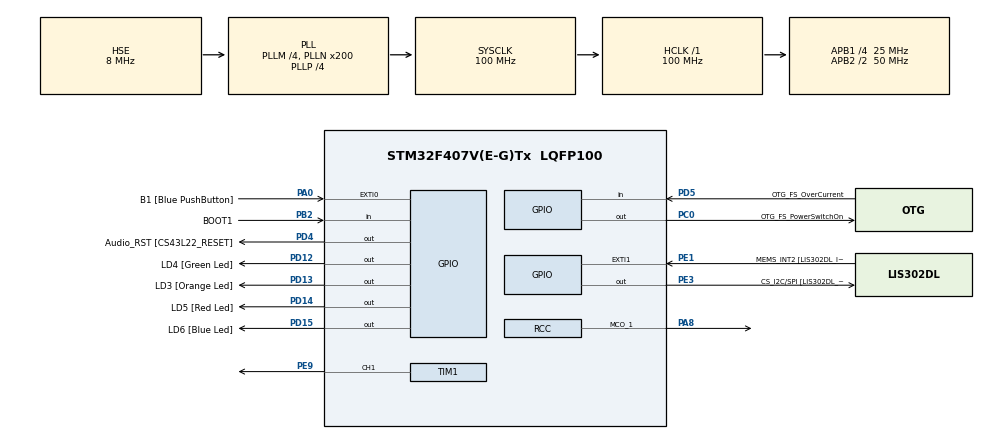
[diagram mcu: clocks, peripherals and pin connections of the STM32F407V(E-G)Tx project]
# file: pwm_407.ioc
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Mcu.Family=STM32F4
Mcu.Name=STM32F407V(E-G)Tx
Mcu.Package=LQFP100
NVIC.PriorityGroup=NVIC_PRIORITYGROUP_0
NVIC.TIM2_IRQn=true\:0\:0\:false
PA0-WKUP.GPIO_Label=B1 [Blue PushButton]
PA0-WKUP.GPIO_ModeDefaultEXTI=GPIO_MODE_EVT_RISING
PA0-WKUP.GPIO_PuPd=GPIO_NOPULL
PA0-WKUP.Signal=GPXTI0
PA10.GPIO_Label=OTG_FS_ID
PA10.GPIO_Mode=GPIO_MODE_AF_PP
PA10.GPIO_PuPd=GPIO_NOPULL
PA10.GPIO_Speed=GPIO_SPEED_LOW
PA10.Signal=USB_OTG_FS_ID
PA11.GPIO_Label=OTG_FS_DM
PA11.GPIO_Mode=GPIO_MODE_AF_PP
PA11.GPIO_PuPd=GPIO_NOPULL
PA11.GPIO_Speed=GPIO_SPEED_LOW
PA11.Signal=USB_OTG_FS_DM
PA12.GPIO_Label=OTG_FS_DP
PA12.GPIO_Mode=GPIO_MODE_AF_PP
PA12.GPIO_PuPd=GPIO_NOPULL
PA12.GPIO_Speed=GPIO_SPEED_LOW
PA12.Signal=USB_OTG_FS_DP
PA13.GPIO_Label=SWDIO
PA13.Mode=Trace-Asynchronous_SW
PA13.Signal=SYS_JTMS-SWDIO
PA14.GPIO_Label=SWCLK
PA14.Mode=Trace-Asynchronous_SW
PA14.Signal=SYS_JTCK-SWCLK
PA4.GPIO_Label=I2S3_WS [CS43L22_LRCK]
PA4.GPIO_Mode=GPIO_MODE_AF_PP
PA4.GPIO_PuPd=GPIO_NOPULL
PA4.GPIO_Speed=GPIO_SPEED_LOW
PA4.Signal=I2S3_WS
PA5.GPIO_Label=SPI1_SCK [LIS302DL_SCL/SPC]
PA5.GPIO_Mode=GPIO_MODE_AF_PP
PA5.GPIO_PuPd=GPIO_NOPULL
PA5.GPIO_Speed=GPIO_SPEED_LOW
PA5.Signal=SPI1_SCK
PA6.GPIO_Label=SPI1_MISO [LIS302DL_SDO]
PA6.GPIO_Mode=GPIO_MODE_AF_PP
PA6.GPIO_PuPd=GPIO_NOPULL
PA6.GPIO_Speed=GPIO_SPEED_LOW
PA6.Signal=SPI1_MISO
PA7.GPIO_Label=SPI1_MOSI [LIS302DL_SDA/SDI/SDO]
PA7.GPIO_Mode=GPIO_MODE_AF_PP
PA7.GPIO_PuPd=GPIO_NOPULL
PA7.GPIO_Speed=GPIO_SPEED_LOW
PA7.Signal=SPI1_MOSI
PA8.Mode=Clock-out-1
PA8.Signal=RCC_MCO_1
PA9.GPIO_Label=VBUS_FS
PA9.GPIO_Mode=GPIO_MODE_INPUT
PA9.GPIO_PuPd=GPIO_NOPULL
PA9.Signal=USB_OTG_FS_VBUS
PB10.GPIO_Label=CLK_IN [MP45DT02_CLK]
PB10.GPIO_Mode=GPIO_MODE_AF_PP
PB10.GPIO_PuPd=GPIO_NOPULL
PB10.GPIO_Speed=GPIO_SPEED_LOW
PB10.Signal=I2S2_CK
PB2.GPIO_Label=BOOT1
PB2.GPIO_Mode=GPIO_MODE_INPUT
PB2.GPIO_PuPd=GPIO_NOPULL
PB2.Signal=GPIO_Input
PB3.GPIO_Label=SWO
PB3.Mode=Trace-Asynchronous_SW
PB3.Signal=SYS_JTDO-SWO
PB6.GPIO_Label=Audio_SCL [CS43L22_SCL]
PB6.GPIO_Mode=GPIO_MODE_AF_OD
PB6.GPIO_PuPd=GPIO_NOPULL
PB6.GPIO_PuPdOD=GPIO_PULLUP
PB6.GPIO_Speed=GPIO_SPEED_LOW
PB6.Signal=I2C1_SCL
PB9.GPIO_Label=Audio_SDA [CS43L22_SDA]
PB9.GPIO_Mode=GPIO_MODE_AF_OD
PB9.GPIO_PuPd=GPIO_NOPULL
PB9.GPIO_PuPdOD=GPIO_PULLUP
PB9.GPIO_Speed=GPIO_SPEED_LOW
PB9.Signal=I2C1_SDA
PC0.GPIO_Label=OTG_FS_PowerSwitchOn
PC0.GPIO_ModeDefaultOutputPP=GPIO_MODE_OUTPUT_PP
PC0.GPIO_PuPd=GPIO_NOPULL
PC0.GPIO_Speed=GPIO_SPEED_LOW
PC0.Signal=GPIO_Output
PC10.GPIO_Label=I2S3_SCK [CS43L22_SCLK]
PC10.GPIO_Mode=GPIO_MODE_AF_PP
PC10.GPIO_PuPd=GPIO_NOPULL
PC10.GPIO_Speed=GPIO_SPEED_LOW
PC10.Signal=I2S3_CK
PC12.GPIO_Label=I2S3_SD [CS43L22_SDIN]
PC12.GPIO_Mode=GPIO_MODE_AF_PP
PC12.GPIO_PuPd=GPIO_NOPULL
PC12.GPIO_Speed=GPIO_SPEED_LOW
PC12.Signal=I2S3_SD
PC14-OSC32_IN.GPIO_Label=PC14-OSC32_IN
PC14-OSC32_IN.Signal=RCC_OSC32_IN
PC15-OSC32_OUT.GPIO_Label=PC15-OSC32_OUT
PC15-OSC32_OUT.Signal=RCC_OSC32_OUT
PC3.GPIO_Label=PDM_OUT [MP45DT02_DOUT]
PC3.GPIO_Mode=GPIO_MODE_AF_PP
PC3.GPIO_PuPd=GPIO_NOPULL
PC3.GPIO_Speed=GPIO_SPEED_LOW
PC3.Signal=I2S2_SD
PC7.GPIO_Label=I2S3_MCK [CS43L22_MCLK]
PC7.GPIO_Mode=GPIO_MODE_AF_PP
PC7.GPIO_PuPd=GPIO_NOPULL
PC7.GPIO_Speed=GPIO_SPEED_LOW
PC7.Signal=I2S3_MCK
PD12.GPIO_Label=LD4 [Green Led]
PD12.GPIO_ModeDefaultOutputPP=GPIO_MODE_OUTPUT_PP
PD12.GPIO_PuPd=GPIO_NOPULL
PD12.GPIO_Speed=GPIO_SPEED_LOW
PD12.Signal=GPIO_Output
PD13.GPIO_Label=LD3 [Orange Led]
PD13.GPIO_ModeDefaultOutputPP=GPIO_MODE_OUTPUT_PP
PD13.GPIO_PuPd=GPIO_NOPULL
PD13.GPIO_Speed=GPIO_SPEED_LOW
PD13.Signal=GPIO_Output
PD14.GPIO_Label=LD5 [Red Led]
PD14.GPIO_ModeDefaultOutputPP=GPIO_MODE_OUTPUT_PP
PD14.GPIO_PuPd=GPIO_NOPULL
PD14.GPIO_Speed=GPIO_SPEED_LOW
PD14.Signal=GPIO_Output
PD15.GPIO_Label=LD6 [Blue Led]
PD15.GPIO_ModeDefaultOutputPP=GPIO_MODE_OUTPUT_PP
PD15.GPIO_PuPd=GPIO_NOPULL
PD15.GPIO_Speed=GPIO_SPEED_LOW
PD15.Signal=GPIO_Output
PD4.GPIO_Label=Audio_RST [CS43L22_RESET]
PD4.GPIO_ModeDefaultOutputPP=GPIO_MODE_OUTPUT_PP
PD4.GPIO_PuPd=GPIO_NOPULL
PD4.GPIO_Speed=GPIO_SPEED_LOW
PD4.Signal=GPIO_Output
PD5.GPIO_Label=OTG_FS_OverCurrent
PD5.GPIO_Mode=GPIO_MODE_INPUT
PD5.GPIO_PuPd=GPIO_NOPULL
PD5.Signal=GPIO_Input
PE1.GPIO_Label=MEMS_INT2 [LIS302DL_INT2]
PE1.GPIO_ModeDefaultEXTI=GPIO_MODE_EVT_RISING
PE1.GPIO_PuPd=GPIO_NOPULL
PE1.Signal=GPXTI1
PE3.GPIO_Label=CS_I2C/SPI [LIS302DL_CS_I2C/SPI]
PE3.GPIO_ModeDefaultOutputPP=GPIO_MODE_OUTPUT_PP
PE3.GPIO_PuPd=GPIO_NOPULL
PE3.GPIO_Speed=GPIO_SPEED_LOW
PE3.Signal=GPIO_Output
PE9.Signal=S_TIM1_CH1
PH0-OSC_IN.GPIO_Label=PH0-OSC_IN
PH0-OSC_IN.Mode=HSE-External-Oscillator
PH0-OSC_IN.Signal=RCC_OSC_IN
PH1-OSC_OUT.GPIO_Label=PH1-OSC_OUT
PH1-OSC_OUT.Mode=HSE-External-Oscillator
PH1-OSC_OUT.Signal=RCC_OSC_OUT
ProjectManager.TargetToolchain=EWARM 6.70
RCC.48MHZClocksFreq_Value=57142857.14285714
RCC.AHBFreq_Value=100000000
RCC.APB1CLKDivider=RCC_HCLK_DIV4
RCC.APB1Freq_Value=25000000
RCC.APB1TimFreq_Value=50000000
RCC.APB2CLKDivider=RCC_HCLK_DIV2
RCC.APB2Freq_Value=50000000
RCC.APB2TimFreq_Value=100000000
RCC.CortexFreq_Value=12500000
RCC.HCLKFreq_Value=100000000
RCC.HSE_VALUE=8000000
RCC.HSI_VALUE=16000000
RCC.LSE_VALUE=32768
RCC.PLLM=4
RCC.PLLN=200
RCC.PLLP=RCC_PLLP_DIV4
RCC.PLLQ=7
RCC.PLLSourceVirtual=RCC_PLLSOURCE_HSE
RCC.RCC_MCO1Source=RCC_MCO1SOURCE_PLLCLK
RCC.SYSCLKFreq_VALUE=100000000
RCC.SYSCLKSource=RCC_SYSCLKSOURCE_PLLCLK
RCC.VCOOutputFreq_Value=400000000
SH.S_TIM1_CH1.0=TIM1_CH1,PWM Generation1 CH1
TIM1.Period=1024
VP_TIM1_VS_ClockSourceINT.Mode=Internal
VP_TIM2_VS_ClockSourceINT.Mode=Internal

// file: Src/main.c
/**
  ******************************************************************************
  * File Name          : main.c
  * Date               : 11/03/2016 18:35:31
  * Description        : Main program body
  ******************************************************************************
  *
  * COPYRIGHT(c) 2016 STMicroelectronics
  *
  * Redistribution and use in source and binary forms, with or without modification,
  * are permitted provided that the following conditions are met:
  *   1. Redistributions of source code must retain the above copyright notice,
  *      this list of conditions and the following disclaimer.
  *   2. Redistributions in binary form must reproduce the above copyright notice,
  *      this list of conditions and the following disclaimer in the documentation
  *      and/or other materials provided with the distribution.
  *   3. Neither the name of STMicroelectronics nor the names of its contributors
  *      may be used to endorse or promote products derived from this software
  *      without specific prior written permission.
  *
  * THIS SOFTWARE IS PROVIDED BY THE COPYRIGHT HOLDERS AND CONTRIBUTORS "AS IS"
  * AND ANY EXPRESS OR IMPLIED WARRANTIES, INCLUDING, BUT NOT LIMITED TO, THE
  * IMPLIED WARRANTIES OF MERCHANTABILITY AND FITNESS FOR A PARTICULAR PURPOSE ARE
  * DISCLAIMED. IN NO EVENT SHALL THE COPYRIGHT HOLDER OR CONTRIBUTORS BE LIABLE
  * FOR ANY DIRECT, INDIRECT, INCIDENTAL, SPECIAL, EXEMPLARY, OR CONSEQUENTIAL
  * DAMAGES (INCLUDING, BUT NOT LIMITED TO, PROCUREMENT OF SUBSTITUTE GOODS OR
  * SERVICES; LOSS OF USE, DATA, OR PROFITS; OR BUSINESS INTERRUPTION) HOWEVER
  * CAUSED AND ON ANY THEORY OF LIABILITY, WHETHER IN CONTRACT, STRICT LIABILITY,
  * OR TORT (INCLUDING NEGLIGENCE OR OTHERWISE) ARISING IN ANY WAY OUT OF THE USE
  * OF THIS SOFTWARE, EVEN IF ADVISED OF THE POSSIBILITY OF SUCH DAMAGE.
  *
  ******************************************************************************
  */

#include "stm32f4xx_hal.h"
#include "tim.h"
#include "gpio.h"

/* USER CODE BEGIN PV */

uint8_t  sine_wave[256] = {
  0x80, 0x83, 0x86, 0x89, 0x8C, 0x90, 0x93, 0x96,
  0x99, 0x9C, 0x9F, 0xA2, 0xA5, 0xA8, 0xAB, 0xAE,
  0xB1, 0xB3, 0xB6, 0xB9, 0xBC, 0xBF, 0xC1, 0xC4,
  0xC7, 0xC9, 0xCC, 0xCE, 0xD1, 0xD3, 0xD5, 0xD8,
  0xDA, 0xDC, 0xDE, 0xE0, 0xE2, 0xE4, 0xE6, 0xE8,
  0xEA, 0xEB, 0xED, 0xEF, 0xF0, 0xF1, 0xF3, 0xF4,
  0xF5, 0xF6, 0xF8, 0xF9, 0xFA, 0xFA, 0xFB, 0xFC,
  0xFD, 0xFD, 0xFE, 0xFE, 0xFE, 0xFF, 0xFF, 0xFF,
  0xFF, 0xFF, 0xFF, 0xFF, 0xFE, 0xFE, 0xFE, 0xFD,
  0xFD, 0xFC, 0xFB, 0xFA, 0xFA, 0xF9, 0xF8, 0xF6,
  0xF5, 0xF4, 0xF3, 0xF1, 0xF0, 0xEF, 0xED, 0xEB,
  0xEA, 0xE8, 0xE6, 0xE4, 0xE2, 0xE0, 0xDE, 0xDC,
  0xDA, 0xD8, 0xD5, 0xD3, 0xD1, 0xCE, 0xCC, 0xC9,
  0xC7, 0xC4, 0xC1, 0xBF, 0xBC, 0xB9, 0xB6, 0xB3,
  0xB1, 0xAE, 0xAB, 0xA8, 0xA5, 0xA2, 0x9F, 0x9C,
  0x99, 0x96, 0x93, 0x90, 0x8C, 0x89, 0x86, 0x83,
  0x80, 0x7D, 0x7A, 0x77, 0x74, 0x70, 0x6D, 0x6A,
  0x67, 0x64, 0x61, 0x5E, 0x5B, 0x58, 0x55, 0x52,
  0x4F, 0x4D, 0x4A, 0x47, 0x44, 0x41, 0x3F, 0x3C,
  0x39, 0x37, 0x34, 0x32, 0x2F, 0x2D, 0x2B, 0x28,
  0x26, 0x24, 0x22, 0x20, 0x1E, 0x1C, 0x1A, 0x18,
  0x16, 0x15, 0x13, 0x11, 0x10, 0x0F, 0x0D, 0x0C,
  0x0B, 0x0A, 0x08, 0x07, 0x06, 0x06, 0x05, 0x04,
  0x03, 0x03, 0x02, 0x02, 0x02, 0x01, 0x01, 0x01,
  0x01, 0x01, 0x01, 0x01, 0x02, 0x02, 0x02, 0x03,
  0x03, 0x04, 0x05, 0x06, 0x06, 0x07, 0x08, 0x0A,
  0x0B, 0x0C, 0x0D, 0x0F, 0x10, 0x11, 0x13, 0x15,
  0x16, 0x18, 0x1A, 0x1C, 0x1E, 0x20, 0x22, 0x24,
  0x26, 0x28, 0x2B, 0x2D, 0x2F, 0x32, 0x34, 0x37,
  0x39, 0x3C, 0x3F, 0x41, 0x44, 0x47, 0x4A, 0x4D,
  0x4F, 0x52, 0x55, 0x58, 0x5B, 0x5E, 0x61, 0x64,
  0x67, 0x6A, 0x6D, 0x70, 0x74, 0x77, 0x7A, 0x7D
};
/* USER CODE END PV */

void SystemClock_Config(void);

int main(void)
{

  /* MCU Configuration----------------------------------------------------------*/

  /* Reset of all peripherals, Initializes the Flash interface and the Systick. */
  HAL_Init();

  /* Configure the system clock */
  SystemClock_Config();

  /* Initialize all configured peripherals */
  MX_GPIO_Init();
  MX_TIM1_Init();
  MX_TIM2_Init();

    HAL_InitTick(2);

  /* USER CODE BEGIN 2 */
  HAL_TIM_PWM_Start(&htim1, TIM_CHANNEL_1);
  HAL_TIM_Base_Start_IT(&htim2);
  /* USER CODE END 2 */

  /* USER CODE BEGIN 3 */
  /* Infinite loop */

  uint8_t i = 0;
  int8_t s = 1;
  while (1)
  {

    HAL_Delay(3);

  }
  /* USER CODE END 3 */

}

/** System Clock Configuration
*/
void SystemClock_Config(void)
{

  RCC_OscInitTypeDef RCC_OscInitStruct;
  RCC_ClkInitTypeDef RCC_ClkInitStruct;

  __PWR_CLK_ENABLE();

  __HAL_PWR_VOLTAGESCALING_CONFIG(PWR_REGULATOR_VOLTAGE_SCALE2);

  RCC_OscInitStruct.OscillatorType = RCC_OSCILLATORTYPE_HSE;
  RCC_OscInitStruct.HSEState = RCC_HSE_ON;
  RCC_OscInitStruct.PLL.PLLState = RCC_PLL_ON;
  RCC_OscInitStruct.PLL.PLLSource = RCC_PLLSOURCE_HSE;
  RCC_OscInitStruct.PLL.PLLM = 4;
  RCC_OscInitStruct.PLL.PLLN = 200;
  RCC_OscInitStruct.PLL.PLLP = RCC_PLLP_DIV4;
  RCC_OscInitStruct.PLL.PLLQ = 7;
  HAL_RCC_OscConfig(&RCC_OscInitStruct);

  RCC_ClkInitStruct.ClockType = RCC_CLOCKTYPE_SYSCLK|RCC_CLOCKTYPE_PCLK1
                              |RCC_CLOCKTYPE_PCLK2;
  RCC_ClkInitStruct.SYSCLKSource = RCC_SYSCLKSOURCE_PLLCLK;
  RCC_ClkInitStruct.AHBCLKDivider = RCC_SYSCLK_DIV1;
  RCC_ClkInitStruct.APB1CLKDivider = RCC_HCLK_DIV4;
  RCC_ClkInitStruct.APB2CLKDivider = RCC_HCLK_DIV2;
  HAL_RCC_ClockConfig(&RCC_ClkInitStruct, FLASH_LATENCY_3);

  HAL_RCC_MCOConfig(RCC_MCO1, RCC_MCO1SOURCE_PLLCLK, RCC_MCODIV_1);

}

/************************ (C) COPYRIGHT STMicroelectronics *****END OF FILE****/
